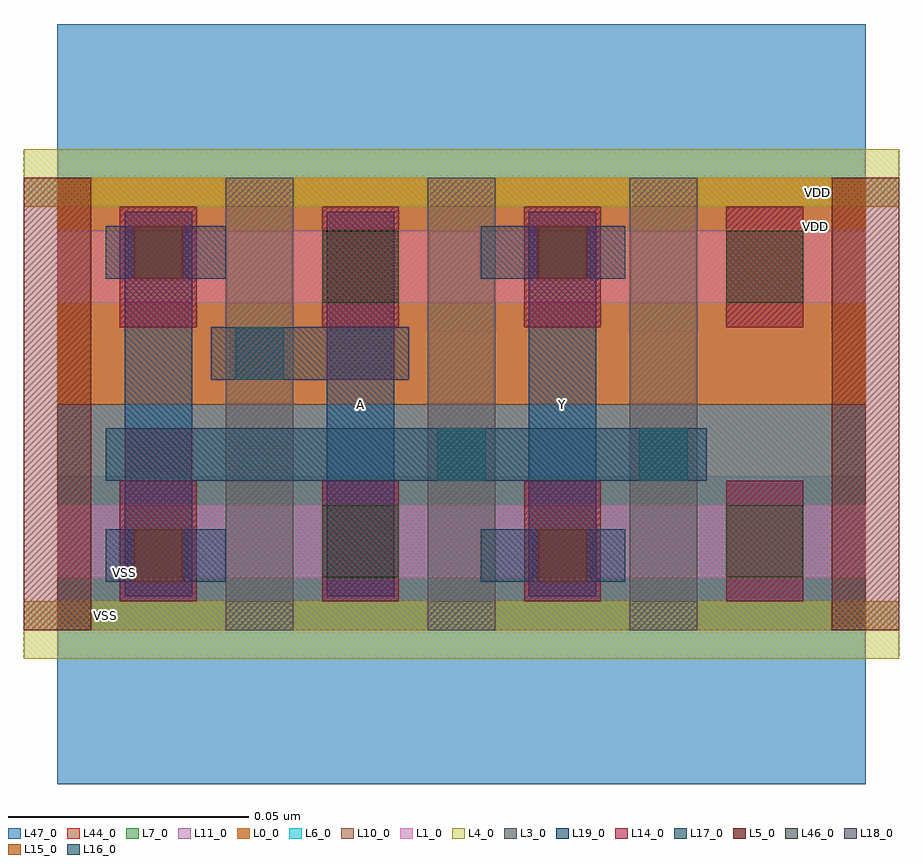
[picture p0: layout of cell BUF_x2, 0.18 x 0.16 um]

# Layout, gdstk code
import gdstk
lib = gdstk.Library(unit=1e-6, precision=5e-10)
def R(c, l, rs):  # rectangles x0, y0, x1, y1
    for r in rs: c.add(gdstk.rectangle(r[:2], r[2:], *l))
def A(c, l, x, y, w, h, nx, ny, dx, dy):  # array of equal rectangles
    R(c, l, [(x+i*dx, y+j*dy, x+i*dx+w, y+j*dy+h) for i in range(nx) for j in range(ny)])
L0_0 = (0, 0)
L1_0 = (1, 0)
L3_0 = (3, 0)
L4_0 = (4, 0)
L5_0 = (5, 0)
L6_0 = (6, 0)
L7_0 = (7, 0)
L10_0 = (10, 0)
L11_0 = (11, 0)
L14_0 = (14, 0)
L15_0 = (15, 0)
L16_0 = (16, 0)
L17_0 = (17, 0)
L18_0 = (18, 0)
L19_0 = (19, 0)
L44_0 = (44, 0)
L46_0 = (46, 0)
L47_0 = (47, 0)

buf_x2 = lib.new_cell('BUF_x2')
R(buf_x2, L0_0, [(0,0.047,0.168,0.094)])
R(buf_x2, L1_0, [(0,0.011,0.168,0.026), (0,0.068,0.168,0.083)])
A(buf_x2, L3_0, 0.035, 0, 0.014, 0.094, 3, 1, 0.042, 0)
R(buf_x2, L4_0, [(-0.007,-0.006,0.175,0.006), (-0.007,0.088,0.175,0.1)])
R(buf_x2, L5_0, [(-0.007,0,0.007,0.094), (0.161,0,0.175,0.094)])
R(buf_x2, L6_0, [(0,0,0.168,0.047)])
R(buf_x2, L7_0, [(0,0.047,0.168,0.094)])
R(buf_x2, L10_0, [(0,0,0.168,0.047)])
R(buf_x2, L11_0, [(0,0.047,0.168,0.094)])
A(buf_x2, L14_0, 0.013, 0.006, 0.016, 0.025, 4, 2, 0.042, 0.057)
R(buf_x2, L15_0, [(0.016,0.01,0.026,0.021), (0.1,0.01,0.11,0.021), (0.016,0.073,0.026,0.084), (0.1,0.073,0.11,0.084)])
R(buf_x2, L16_0, [(0.079,0.031,0.089,0.042), (0.121,0.031,0.131,0.042), (0.037,0.052,0.047,0.063)])
R(buf_x2, L17_0, [(0.01,0.01,0.035,0.021), (0.088,0.01,0.118,0.021), (0.01,0.031,0.135,0.042), (0.032,0.052,0.073,0.063), (0.01,0.073,0.035,0.084), (0.088,0.073,0.118,0.084)])
R(buf_x2, L18_0, [(0.014,0.01,0.028,0.021), (0.098,0.01,0.112,0.021), (0.014,0.031,0.028,0.042), (0.056,0.052,0.07,0.063), (0.014,0.073,0.028,0.084), (0.098,0.073,0.112,0.084)])
A(buf_x2, L19_0, 0.014, 0.007, 0.014, 0.08, 3, 1, 0.042, 0)
R(buf_x2, L44_0, [(0,0,0.168,0.094)])
R(buf_x2, L46_0, [(0.055,0.011,0.071,0.026), (0.139,0.011,0.155,0.026), (0.055,0.068,0.071,0.083), (0.139,0.068,0.155,0.083)])
R(buf_x2, L47_0, [(0,-0.032,0.168,0.032), (0,0.062,0.168,0.126)])
buf_x2.add(gdstk.Label('VSS', (0.01,0.003), layer=54, texttype=2))
buf_x2.add(gdstk.Label('A', (0.063,0.047), layer=19, texttype=2))
buf_x2.add(gdstk.Label('Y', (0.105,0.047), layer=19, texttype=2))
buf_x2.add(gdstk.Label('VDD', (0.158,0.091), layer=0, texttype=2))
buf_x2.add(gdstk.Label('VSS', (0.014,0.012), layer=47, texttype=2))
buf_x2.add(gdstk.Label('VDD', (0.1575,0.084), layer=47, texttype=2))

lib.write_gds('BUF_x2.gds')
